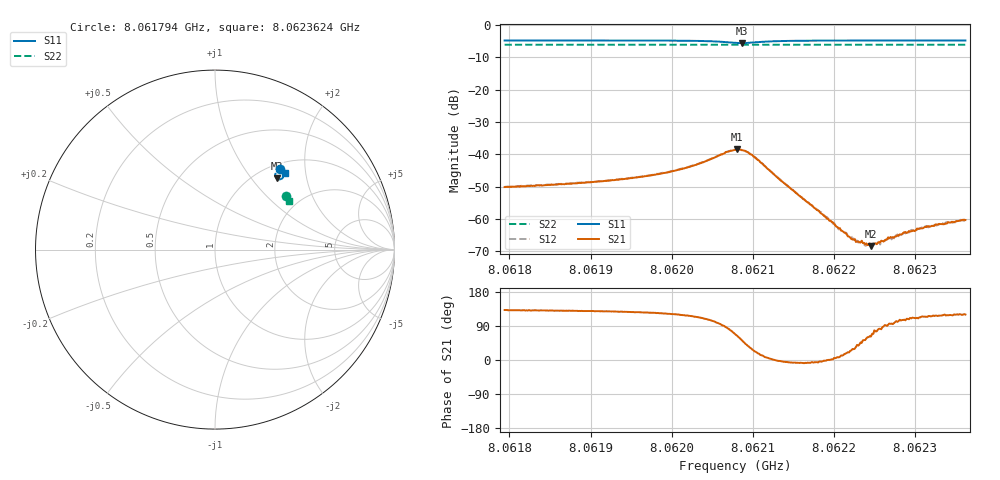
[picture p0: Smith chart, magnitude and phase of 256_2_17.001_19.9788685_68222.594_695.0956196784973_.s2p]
#  HZ  S  RI  R  50.00
! Rohde & Schwarz Vector Network Analyzer
! Rohde-Schwarz,ZNB20-2Port,1311601062101988,3.16
! Created: UTC 3/20/2024, 11:03:35 PM
! freq[Hz]  re:S11  im:S11  re:S21  im:S21  re:S12  im:S12  re:S22  im:S22
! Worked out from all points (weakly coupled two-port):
!   401 points, 8.061794 GHz to 8.0623624 GHz, reference 50 ohm
!   highest |S21| = -38.45 dB at 8.062081 GHz (marker M1); lowest = -68.4 dB at 8.0622459 GHz (marker M2)
!   lowest |S11| = -5.6 dB at 8.0620867 GHz (marker M3), VSWR 3.21, Z = 61.5 + j67.4 ohm
!   |S11| at or under -10 dB: nowhere
!   |S22| runs from -6.2 to -6.1 dB; largest |S21 - S12| = 0.00085
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8.06179397e9  0.3637 0.4465  -0.00209 0.00233  -0.002 0.00248  0.3941 0.3001
8.06188918e9  0.3706 0.4403  -0.00231 0.00279  -0.00221 0.00296  0.3976 0.2952
8.06194461e9  0.3751 0.4355  -0.00253 0.00337  -0.00236 0.00356  0.3993 0.2925
8.0619844e9  0.3789 0.4304  -0.00275 0.00415  -0.00255 0.00434  0.4008 0.2902
8.06202419e9  0.3826 0.4209  -0.00285 0.00588  -0.00251 0.00614  0.4021 0.2878
8.06207819e9  0.3571 0.3915  0.00429 0.011  0.00489 0.0108  0.4021 0.2845
8.06208104e9  0.3522 0.3924  0.00533 0.0107  0.00593 0.0103  0.4021 0.2845
8.06208672e9  0.3432 0.3974  0.00711 0.00915  0.00785 0.00875  0.4019 0.2847
8.06209525e9  0.3357 0.41  0.00858 0.0061  0.00906 0.00546  0.402 0.2849
8.06210235e9  0.3357 0.4208  0.00844 0.00355  0.00854 0.00315  0.4026 0.285
8.06213504e9  0.3546 0.4389  0.0039 -0.000235  0.00395 -0.00045  0.4047 0.2841
8.06217341e9  0.3672 0.4384  0.00161 -0.00016  0.00157 -0.000275  0.4065 0.282
8.06219188e9  0.3707 0.4372  0.00101 -3.82e-06  0.00106 -8.52e-05  0.4072 0.2811
8.06220609e9  0.373 0.4362  0.000721 8.72e-05  0.00069 5.61e-05  0.4077 0.2802
8.06222031e9  0.3748 0.4353  0.000474 0.00021  0.000527 0.000196  0.4083 0.2794
8.06222599e9  0.3756 0.4349  0.000425 0.000244  0.000395 0.00021  0.4084 0.2793
8.06223736e9  0.377 0.434  0.00026 0.000341  0.000256 0.000317  0.4089 0.2785
8.06224589e9  0.3778 0.4336  0.00018 0.000336  0.000182 0.000368  0.409 0.2781
8.0622601e9  0.3792 0.4327  2.4e-05 0.000457  5.89e-05 0.000439  0.4095 0.2774
8.06226862e9  0.38 0.432  -5.53e-05 0.000502  -1.07e-05 0.000537  0.4099 0.277
8.06231126e9  0.3834 0.4294  -0.000309 0.000672  -0.000232 0.000675  0.4113 0.2749
8.06236242e9  0.3873 0.4264  -0.000483 0.000839  -0.000444 0.000867  0.413 0.272
